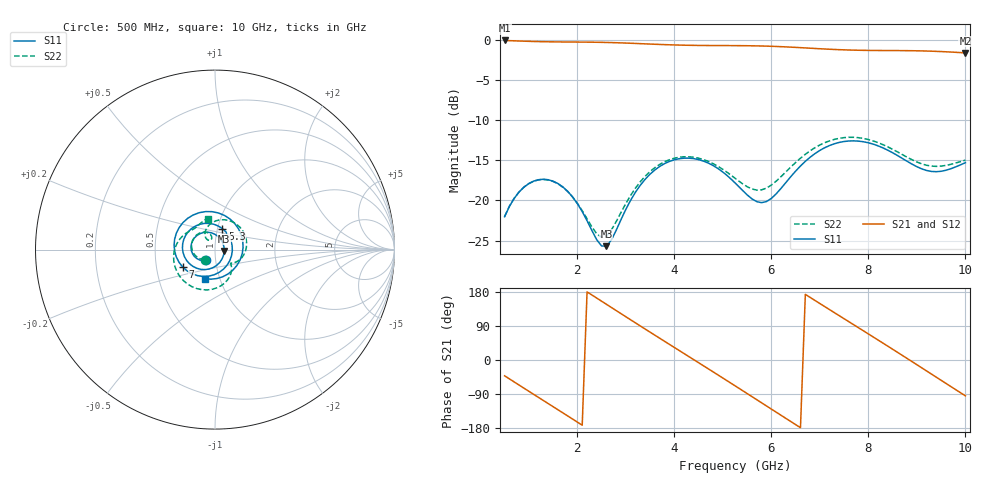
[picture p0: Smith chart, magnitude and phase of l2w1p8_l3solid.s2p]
! Touchstone file exported from HFSS 3D Layout Design 2026.1.0
!  File:  D:/Work/ADS/HFSS_VERDICT/hfss_sma_connector_cpw.aedt
!  Generated:  12:51:07 PM Aug  6, 2026
!  Design:  SINGLE_END_SMA_CPW_30MM
!  Project:  hfss_sma_connector_cpw
! Variables:
!  $sma_Base_D = 6.25mm
!  $sma_Base_L = 8mm
!  $sma_Feet_L = 4mm
!  $sma_Feet_W = 1mm
!  $sma_Front_L = 1.5mm
!  $sma_Front_W = 6.5mm
!  $sma_Hole_D = 1.25mm
!  $sma_PTFE_D = 4.2mm
!  $sma_Pin_D = 0.95mm
!  $sma_Pin_P = 1.7mm
# GHz S MA R 50.000000
! Terminal data exported
! Port[1] = Port1
! Port[2] = S1_1_Pin_T1
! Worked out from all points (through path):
!   96 points, 500 MHz to 10 GHz, reference 50 ohm
!   highest |S21| = -0.12 dB at 500 MHz (marker M1); lowest = -1.7 dB at 10 GHz (marker M2)
!   group delay of S21, straight-line fit = 226 ps
!   lowest |S11| = -25.7 dB at 2.6 GHz (marker M3), VSWR 1.11, Z = 55.4 - j0.849 ohm
!   |S11| at or under -10 dB: start of sweep to end of sweep
!   |S22| runs from -24.6 to -12.2 dB; largest |S21 - S12| = 1.5e-14
!   S11 on the Smith chart (normalised r, x): 500 MHz: 0.90, -0.11; 5.3 GHz: 1.05, +0.25; 7 GHz: 0.68, -0.14; 10 GHz: 0.85, -0.28
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0.5  0.07914 -129.9  0.9868 -41.7  0.9868 -41.7  0.07942 -135.2
0.9  0.1209 -161.5  0.9767 -74.4  0.9767 -74.4  0.121 -170.1
1.3  0.1353 166.5  0.9694 -107.0  0.9694 -107.0  0.1349 156.9
1.7  0.1212 132.2  0.9659 -139.4  0.9659 -139.4  0.1208 127.2
2.1  0.08516 89.8  0.964 -172.1  0.964 -172.1  0.08629 106.4
2.6  0.0519 -8.5  0.959 146.9  0.959 146.9  0.06003 120.9
3.2  0.1126 -106.5  0.9455 97.8  0.9455 97.8  0.1194 115.9
3.7  0.1627 -151.2  0.932 57.2  0.932 57.2  0.1675 81.0
4.1  0.1816 177.3  0.9237 25.0  0.9237 25.0  0.1854 49.4
4.5  0.1792 146.1  0.9191 -7.2  0.9191 -7.2  0.1829 18.0
4.9  0.1577 112.2  0.9174 -39.5  0.9174 -39.5  0.1628 -10.6
5.3  0.1242 70.9  0.9163 -72.1  0.9163 -72.1  0.1337 -31.9
5.7  0.09812 13.8  0.913 -104.9  0.913 -104.9  0.1158 -40.8
6.2  0.1188 -66.7  0.9028 -146.0  0.9028 -146.0  0.1406 -48.7
6.9  0.1955 -142.7  0.8798 157.0  0.8798 157.0  0.2127 -86.6
7  0.2045 -151.7  0.8764 149.0  0.8764 149.0  0.221 -93.4
7.7  0.2344 148.4  0.8591 92.8  0.8591 92.8  0.2466 -143.0
8.1  0.2236 113.2  0.8552 60.8  0.8552 60.8  0.2342 -170.2
8.5  0.1977 74.5  0.854 28.4  0.854 28.4  0.2077 165.6
9.2  0.1534 -8.8  0.8482 -28.9  0.8482 -28.9  0.1653 135.9
9.6  0.1539 -61.6  0.839 -61.8  0.839 -61.8  0.165 122.2
10  0.1714 -108.8  0.8259 -94.6  0.8259 -94.6  0.1779 103.4
